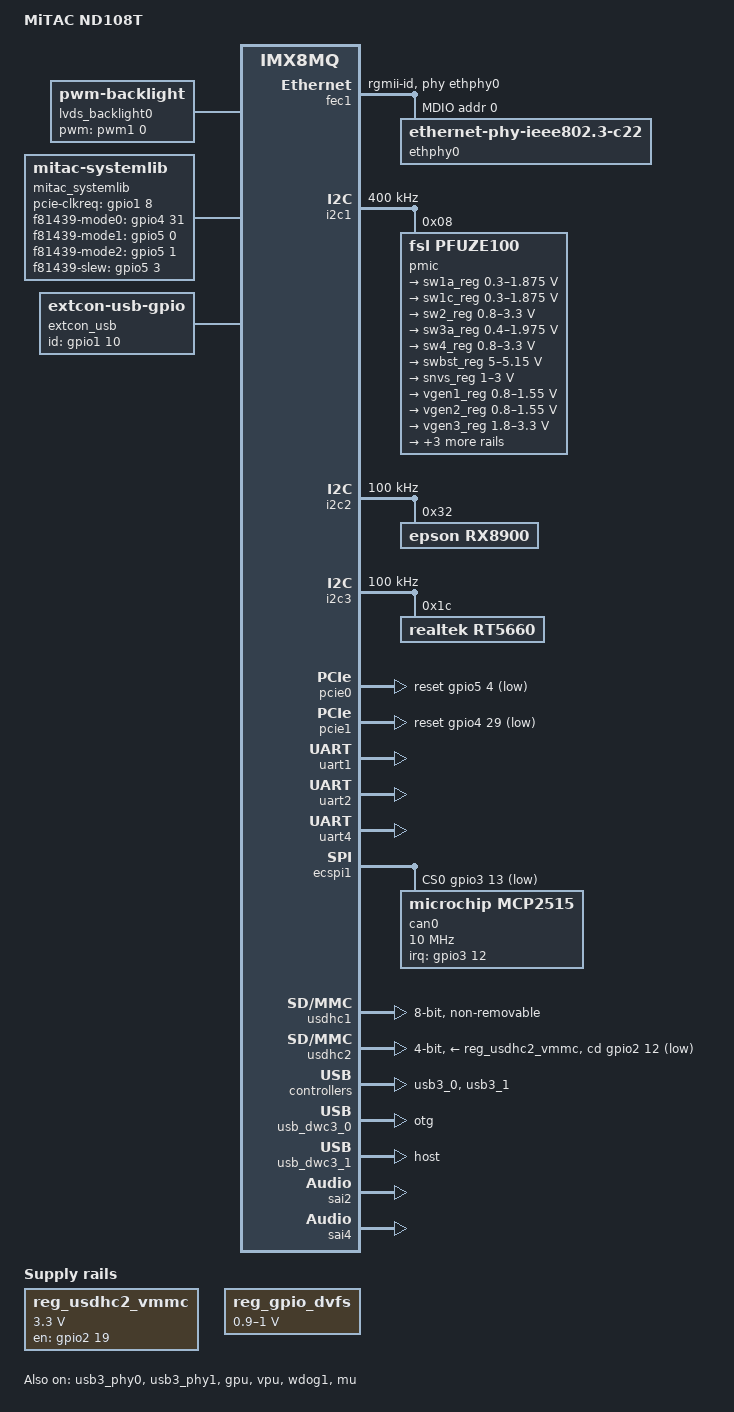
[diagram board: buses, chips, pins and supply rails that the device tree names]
/*
 * Copyright (C) 2016 Freescale Semiconductor, Inc.
 * Copyright 2017 NXP
 *
 * This program is free software; you can redistribute it and/or
 * modify it under the terms of the GNU General Public License
 * as published by the Free Software Foundation; either version 2
 * of the License, or (at your option) any later version.
 *
 * This program is distributed in the hope that it will be useful,
 * but WITHOUT ANY WARRANTY; without even the implied warranty of
 * MERCHANTABILITY or FITNESS FOR A PARTICULAR PURPOSE.  See the
 * GNU General Public License for more details.
 */

/dts-v1/;

#include "fsl-imx8mq.dtsi"

/ {
	model = "MiTAC ND108T";
	compatible = "fsl,imx8mq";

	chosen {
		bootargs = "console=ttymxc0,115200 earlycon=ec_imx6q,0x30860000,115200";
		stdout-path = &uart1;
	};

	regulators {
		compatible = "simple-bus";
		#address-cells = <1>;
		#size-cells = <0>;

		reg_usdhc2_vmmc: usdhc2_vmmc {
			compatible = "regulator-fixed";
			regulator-name = "VSD_3V3";
			regulator-min-microvolt = <3300000>;
			regulator-max-microvolt = <3300000>;
			gpio = <&gpio2 19 GPIO_ACTIVE_HIGH>;
			off-on-delay = <20000>;
			enable-active-high;
		};

		reg_gpio_dvfs: regulator-gpio {
			compatible = "regulator-gpio";
			pinctrl-names = "default";
			pinctrl-0 = <&pinctrl_dvfs>;
			regulator-min-microvolt = <900000>;
			regulator-max-microvolt = <1000000>;
			regulator-name = "gpio_dvfs";
			regulator-type = "voltage";
			gpios = <&gpio1 13 GPIO_ACTIVE_HIGH>;
			states = <900000 0x1 1000000 0x0>;
		};

		lvds_backlight0:lvds_backlight@0 {
			compatible = "pwm-backlight";
			pwms = <&pwm1 0 100000>;
			brightness-levels = < 0  1  2  3  4  5  6  7  8  9
								10 11 12 13 14 15 16 17 18 19
								20 21 22 23 24 25 26 27 28 29
								30 31 32 33 34 35 36 37 38 39
								40 41 42 43 44 45 46 47 48 49
								50 51 52 53 54 55 56 57 58 59
								60 61 62 63 64 65 66 67 68 69
								70 71 72 73 74 75 76 77 78 79
								80 81 82 83 84 85 86 87 88 89
								90 91 92 93 94 95 96 97 98 99
								100>;
			default-brightness-level = <80>;
		};
	};

	sound {
		compatible = "simple-audio-card";
		simple-audio-card,name = "imx-rt5660";
		simple-audio-card,format = "i2s";
		simple-audio-card,widgets =
			"Line Out", "Line Out Jack",
			"Microphone", "Mic Jack";
		simple-audio-card,routing =
			"Line Out Jack", "LOUTL",
			"Line Out Jack", "LOUTR",
			"Mic Jack", "MICBIAS1",
			"IN1P", "Mic Jack",
			"IN1N", "Mic Jack";
		simple-audio-card,cpu {
			sound-dai = <&sai2>;
		};
		simple-audio-card,codec {
			sound-dai = <&rt5660>;
		};
	};

	sound-hdmi {
		compatible = "fsl,imx8mq-evk-cdnhdmi",
				"fsl,imx-audio-cdnhdmi";
		model = "imx-audio-hdmi";
		audio-cpu = <&sai4>;
		protocol = <1>;
		hdmi-out;
		constraint-rate = <44100>,
				<88200>,
				<176400>,
				<32000>,
				<48000>,
				<96000>,
				<192000>;
	};

	mitac_systemlib: mitac-systemlib {
		compatible = "mitac-systemlib";
		pinctrl-names = "default";
		pinctrl-0 = <&pinctrl_systemlib>;
		pcie-clkreq-gpios = <&gpio1 8 GPIO_ACTIVE_HIGH>;
		f81439-mode0 = <&gpio4 31 GPIO_ACTIVE_HIGH>;
		f81439-mode1 = <&gpio5 0 GPIO_ACTIVE_HIGH>;
		f81439-mode2 = <&gpio5 1 GPIO_ACTIVE_HIGH>;
		f81439-slew = <&gpio5 3 GPIO_ACTIVE_HIGH>;
	};

     extcon_usb: extcon-usb {
        compatible = "linux,extcon-usb-gpio";
        pinctrl-names = "default";
        pinctrl-0 = <&pinctrl_usbotgid>;
        id-gpio = <&gpio1 10 GPIO_ACTIVE_HIGH>;
    };
};

&clk {
	assigned-clocks = <&clk IMX8MQ_AUDIO_PLL1>, <&clk IMX8MQ_AUDIO_PLL2>;
	assigned-clock-rates = <786432000>, <722534400>;
};

&iomuxc {
	pinctrl-names = "default";
	pinctrl-0 = <&pinctrl_rpiio>;

	pinctrl_rpiio: rpiio {
		fsl,pins = <
			MX8MQ_IOMUXC_SAI5_MCLK_GPIO3_IO25		0x19	/* K4: RBPi_GPIO4 */
			MX8MQ_IOMUXC_SAI5_RXFS_GPIO3_IO19		0x19	/* N4: RBPi_GPIO13 */
			MX8MQ_IOMUXC_SAI5_RXC_GPIO3_IO20		0x19	/* L5: RBPi_GPIO6 */
			MX8MQ_IOMUXC_SAI5_RXD0_GPIO3_IO21		0x19	/* M5: RBPi_GPIO5 */
			MX8MQ_IOMUXC_SAI5_RXD1_GPIO3_IO22		0x19	/* L4: RBPi_GPIO22 */
			MX8MQ_IOMUXC_SAI5_RXD2_GPIO3_IO23		0x19	/* M4: RBPi_GPIO27 */
			MX8MQ_IOMUXC_SAI5_RXD3_GPIO3_IO24		0x19	/* K5: RBPi_GPIO17 */
			MX8MQ_IOMUXC_SAI3_MCLK_GPIO5_IO2		0x19	/* D3: RBPi_GPIO21 */
			MX8MQ_IOMUXC_NAND_CE1_B_GPIO3_IO2		0x19	/* G21: RBPi_GPIO12 */
			MX8MQ_IOMUXC_NAND_CE2_B_GPIO3_IO3		0x19	/* F21: RBPi_GPIO16 */
			MX8MQ_IOMUXC_NAND_CE3_B_GPIO3_IO4		0x19	/* H20: RBPi_GPIO20 */
			MX8MQ_IOMUXC_NAND_WE_B_GPIO3_IO17		0x19	/* K22: RBPi_GPIO26 */
			MX8MQ_IOMUXC_NAND_WP_B_GPIO3_IO18		0x19	/* K21: RBPi_GPIO19 */
			MX8MQ_IOMUXC_NAND_DQS_GPIO3_IO14		0x19	/* M20: RBPi_GPIO18 */
			MX8MQ_IOMUXC_NAND_DATA04_GPIO3_IO10		0x19	/* L20: RBPi_GPIO23 */
			MX8MQ_IOMUXC_NAND_DATA05_GPIO3_IO11		0x19	/* J22: RBPi_GPIO24 */
			/*MX8MQ_IOMUXC_NAND_DATA06_GPIO3_IO12		0x19	/* L19: RBPi_GPIO25 */
		>;
	};

	pinctrl_fec1: fec1grp {
		fsl,pins = <
			MX8MQ_IOMUXC_ENET_MDC_ENET1_MDC		0x3
			MX8MQ_IOMUXC_ENET_MDIO_ENET1_MDIO	0x23
			MX8MQ_IOMUXC_ENET_TD3_ENET1_RGMII_TD3	0x1f
			MX8MQ_IOMUXC_ENET_TD2_ENET1_RGMII_TD2	0x1f
			MX8MQ_IOMUXC_ENET_TD1_ENET1_RGMII_TD1	0x1f
			MX8MQ_IOMUXC_ENET_TD0_ENET1_RGMII_TD0	0x1f
			MX8MQ_IOMUXC_ENET_RD3_ENET1_RGMII_RD3	0x91
			MX8MQ_IOMUXC_ENET_RD2_ENET1_RGMII_RD2	0x91
			MX8MQ_IOMUXC_ENET_RD1_ENET1_RGMII_RD1	0x91
			MX8MQ_IOMUXC_ENET_RD0_ENET1_RGMII_RD0	0x91
			MX8MQ_IOMUXC_ENET_TXC_ENET1_RGMII_TXC	0x1f
			MX8MQ_IOMUXC_ENET_RXC_ENET1_RGMII_RXC	0x91
			MX8MQ_IOMUXC_ENET_RX_CTL_ENET1_RGMII_RX_CTL	0x91
			MX8MQ_IOMUXC_ENET_TX_CTL_ENET1_RGMII_TX_CTL	0x1f
			MX8MQ_IOMUXC_GPIO1_IO09_GPIO1_IO9	0x19
		>;
	};

	pinctrl_ecspi1: ecspi1grp {
		fsl,pins = <
			MX8MQ_IOMUXC_ECSPI1_SCLK_ECSPI1_SCLK	0x82	/* D5: RBPi_GPIO11/SPI1_SCLK */
			MX8MQ_IOMUXC_ECSPI1_MOSI_ECSPI1_MOSI	0x82	/* A4: RBPi_GPIO10/SPI1_MOSI */
			MX8MQ_IOMUXC_ECSPI1_MISO_ECSPI1_MISO	0x82	/* B4: RBPi_GPIO9/SPI1_MISO */
			MX8MQ_IOMUXC_NAND_CLE_GPIO3_IO5			0x43	/* H21: RBPi_GPIO7/SPI1_CE1 */
			MX8MQ_IOMUXC_NAND_DATA07_GPIO3_IO13		0x19	/* M19: RBPi_GPIO8/SPI1_CE0 */
		>;
	};

	pinctrl_can0: can0grp {
		fsl,pins = <
			MX8MQ_IOMUXC_NAND_DATA06_GPIO3_IO12		0x19	/* L19: RBPi_GPIO25 */
		>;
	};

	pinctrl_i2c1: i2c1grp {
		fsl,pins = <
			MX8MQ_IOMUXC_I2C1_SCL_I2C1_SCL			0x4000007f
			MX8MQ_IOMUXC_I2C1_SDA_I2C1_SDA			0x4000007f
		>;
	};

	pinctrl_i2c2: i2c2grp {
		fsl,pins = <
			MX8MQ_IOMUXC_I2C2_SCL_I2C2_SCL			0x40000067	/* G7: RBPi_GPIO3/I2C2_SCL */
			MX8MQ_IOMUXC_I2C2_SDA_I2C2_SDA			0x40000067	/* F7: RBPi_GPIO2/I2C2_SDA */
		>;
	};

	pinctrl_i2c3: i2c3grp {
		fsl,pins = <
			MX8MQ_IOMUXC_I2C3_SCL_I2C3_SCL			0x40000067
			MX8MQ_IOMUXC_I2C3_SDA_I2C3_SDA			0x40000067
		>;
	};

	pinctrl_i2c4: i2c4grp {
		fsl,pins = <
			MX8MQ_IOMUXC_I2C4_SCL_I2C4_SCL			0x40000067
			MX8MQ_IOMUXC_I2C4_SDA_I2C4_SDA			0x40000067
		>;
	};

	pinctrl_pcie0: pcie0grp {
		fsl,pins = <
			MX8MQ_IOMUXC_UART4_RXD_PCIE1_CLKREQ_B	0x76 /* open drain, pull up */
			MX8MQ_IOMUXC_GPIO1_IO03_GPIO1_IO3	0x16
			MX8MQ_IOMUXC_SPDIF_RX_GPIO5_IO4		0x16
			MX8MQ_IOMUXC_SAI3_RXFS_GPIO4_IO28	0x16 /* Wake-up */
		>;
	};

	pinctrl_pcie1: pcie1grp {
		fsl,pins = <
			MX8MQ_IOMUXC_UART4_TXD_PCIE2_CLKREQ_B	0x76 /* open drain, pull up */
			MX8MQ_IOMUXC_SAI3_RXD_GPIO4_IO30	0x16
			MX8MQ_IOMUXC_SAI3_RXC_GPIO4_IO29	0x16
		>;
	};

	pinctrl_dvfs: dvfsgrp {
		fsl,pins = <
			MX8MQ_IOMUXC_GPIO1_IO13_GPIO1_IO13	0x16
		>;
	};

	pinctrl_qspi: qspigrp {
		fsl,pins = <
			MX8MQ_IOMUXC_NAND_ALE_QSPI_A_SCLK	0x82
			MX8MQ_IOMUXC_NAND_CE0_B_QSPI_A_SS0_B	0x82
			MX8MQ_IOMUXC_NAND_DATA00_QSPI_A_DATA0	0x82
			MX8MQ_IOMUXC_NAND_DATA01_QSPI_A_DATA1	0x82
			MX8MQ_IOMUXC_NAND_DATA02_QSPI_A_DATA2	0x82
			MX8MQ_IOMUXC_NAND_DATA03_QSPI_A_DATA3	0x82

		>;
	};

	pinctrl_uart1: uart1grp {
		fsl,pins = <
			MX8MQ_IOMUXC_UART1_RXD_UART1_DCE_RX		0x49
			MX8MQ_IOMUXC_UART1_TXD_UART1_DCE_TX		0x49
		>;
	};

	pinctrl_uart2: uart2grp {
		fsl,pins = <
			MX8MQ_IOMUXC_UART2_RXD_UART2_DCE_RX		0x49
			MX8MQ_IOMUXC_UART2_TXD_UART2_DCE_TX		0x49
		>;
	};

	pinctrl_uart3: uart3grp {
		fsl,pins = <
			MX8MQ_IOMUXC_UART3_TXD_UART3_DCE_TX		0x49	/* B7: RBPi_GPIO14/UART3_TX */
			MX8MQ_IOMUXC_UART3_RXD_UART3_DCE_RX		0x49	/* A6: RBPi_GPIO15/UART3_RX */
		>;
	};

	pinctrl_uart4: uart4grp {
		fsl,pins = <
			MX8MQ_IOMUXC_ECSPI2_MISO_UART4_DCE_CTS_B	0x49
			MX8MQ_IOMUXC_ECSPI2_SS0_UART4_DCE_RTS_B		0x49
			MX8MQ_IOMUXC_ECSPI2_MOSI_UART4_DCE_TX		0x49
			MX8MQ_IOMUXC_ECSPI2_SCLK_UART4_DCE_RX	0x49
		>;
	};

	pinctrl_usdhc1: usdhc1grp {
		fsl,pins = <
			MX8MQ_IOMUXC_SD1_CLK_USDHC1_CLK			0x83
			MX8MQ_IOMUXC_SD1_CMD_USDHC1_CMD			0xc3
			MX8MQ_IOMUXC_SD1_DATA0_USDHC1_DATA0		0xc3
			MX8MQ_IOMUXC_SD1_DATA1_USDHC1_DATA1		0xc3
			MX8MQ_IOMUXC_SD1_DATA2_USDHC1_DATA2		0xc3
			MX8MQ_IOMUXC_SD1_DATA3_USDHC1_DATA3		0xc3
			MX8MQ_IOMUXC_SD1_DATA4_USDHC1_DATA4		0xc3
			MX8MQ_IOMUXC_SD1_DATA5_USDHC1_DATA5		0xc3
			MX8MQ_IOMUXC_SD1_DATA6_USDHC1_DATA6		0xc3
			MX8MQ_IOMUXC_SD1_DATA7_USDHC1_DATA7		0xc3
			MX8MQ_IOMUXC_SD1_STROBE_USDHC1_STROBE 		0x83
			MX8MQ_IOMUXC_SD1_RESET_B_USDHC1_RESET_B		0xc1
		>;
	};

	pinctrl_usdhc1_100mhz: usdhc1grp100mhz {
		fsl,pins = <
			MX8MQ_IOMUXC_SD1_CLK_USDHC1_CLK			0x8d
			MX8MQ_IOMUXC_SD1_CMD_USDHC1_CMD			0xcd
			MX8MQ_IOMUXC_SD1_DATA0_USDHC1_DATA0		0xcd
			MX8MQ_IOMUXC_SD1_DATA1_USDHC1_DATA1		0xcd
			MX8MQ_IOMUXC_SD1_DATA2_USDHC1_DATA2		0xcd
			MX8MQ_IOMUXC_SD1_DATA3_USDHC1_DATA3		0xcd
			MX8MQ_IOMUXC_SD1_DATA4_USDHC1_DATA4		0xcd
			MX8MQ_IOMUXC_SD1_DATA5_USDHC1_DATA5		0xcd
			MX8MQ_IOMUXC_SD1_DATA6_USDHC1_DATA6		0xcd
			MX8MQ_IOMUXC_SD1_DATA7_USDHC1_DATA7		0xcd
			MX8MQ_IOMUXC_SD1_STROBE_USDHC1_STROBE		0x8d
			MX8MQ_IOMUXC_SD1_RESET_B_USDHC1_RESET_B		0xc1
		>;
	};

	pinctrl_usdhc1_200mhz: usdhc1grp200mhz {
		fsl,pins = <
			MX8MQ_IOMUXC_SD1_CLK_USDHC1_CLK			0x9f
			MX8MQ_IOMUXC_SD1_CMD_USDHC1_CMD			0xdf
			MX8MQ_IOMUXC_SD1_DATA0_USDHC1_DATA0		0xdf
			MX8MQ_IOMUXC_SD1_DATA1_USDHC1_DATA1		0xdf
			MX8MQ_IOMUXC_SD1_DATA2_USDHC1_DATA2		0xdf
			MX8MQ_IOMUXC_SD1_DATA3_USDHC1_DATA3		0xdf
			MX8MQ_IOMUXC_SD1_DATA4_USDHC1_DATA4		0xdf
			MX8MQ_IOMUXC_SD1_DATA5_USDHC1_DATA5		0xdf
			MX8MQ_IOMUXC_SD1_DATA6_USDHC1_DATA6		0xdf
			MX8MQ_IOMUXC_SD1_DATA7_USDHC1_DATA7		0xdf
			MX8MQ_IOMUXC_SD1_STROBE_USDHC1_STROBE		0x9f
			MX8MQ_IOMUXC_SD1_RESET_B_USDHC1_RESET_B		0xc1
		>;
	};

	pinctrl_usdhc2_gpio: usdhc2grpgpio {
		fsl,pins = <
			MX8MQ_IOMUXC_SD2_CD_B_GPIO2_IO12	0x41
			MX8MQ_IOMUXC_SD2_RESET_B_GPIO2_IO19	0x41
		>;
	};

	pinctrl_usdhc2: usdhc2grp {
		fsl,pins = <
			MX8MQ_IOMUXC_SD2_CLK_USDHC2_CLK			0x83
			MX8MQ_IOMUXC_SD2_CMD_USDHC2_CMD			0xc3
			MX8MQ_IOMUXC_SD2_DATA0_USDHC2_DATA0		0xc3
			MX8MQ_IOMUXC_SD2_DATA1_USDHC2_DATA1		0xc3
			MX8MQ_IOMUXC_SD2_DATA2_USDHC2_DATA2		0xc3
			MX8MQ_IOMUXC_SD2_DATA3_USDHC2_DATA3		0xc3
			MX8MQ_IOMUXC_GPIO1_IO04_USDHC2_VSELECT		0xc1
		>;
	};

	pinctrl_usdhc2_100mhz: usdhc2grp100mhz {
		fsl,pins = <
			MX8MQ_IOMUXC_SD2_CLK_USDHC2_CLK			0x8d
			MX8MQ_IOMUXC_SD2_CMD_USDHC2_CMD			0xcd
			MX8MQ_IOMUXC_SD2_DATA0_USDHC2_DATA0		0xcd
			MX8MQ_IOMUXC_SD2_DATA1_USDHC2_DATA1		0xcd
			MX8MQ_IOMUXC_SD2_DATA2_USDHC2_DATA2		0xcd
			MX8MQ_IOMUXC_SD2_DATA3_USDHC2_DATA3		0xcd
			MX8MQ_IOMUXC_GPIO1_IO04_USDHC2_VSELECT		0xc1
		>;
	};

	pinctrl_usdhc2_200mhz: usdhc2grp200mhz {
		fsl,pins = <
			MX8MQ_IOMUXC_SD2_CLK_USDHC2_CLK			0x9f
			MX8MQ_IOMUXC_SD2_CMD_USDHC2_CMD			0xdf
			MX8MQ_IOMUXC_SD2_DATA0_USDHC2_DATA0		0xdf
			MX8MQ_IOMUXC_SD2_DATA1_USDHC2_DATA1		0xdf
			MX8MQ_IOMUXC_SD2_DATA2_USDHC2_DATA2		0xdf
			MX8MQ_IOMUXC_SD2_DATA3_USDHC2_DATA3		0xdf
			MX8MQ_IOMUXC_GPIO1_IO04_USDHC2_VSELECT		0xc1
		>;
	};

	pinctrl_sai2: sai2grp {
		fsl,pins = <
			MX8MQ_IOMUXC_SAI2_TXFS_SAI2_TX_SYNC	0xd6
			MX8MQ_IOMUXC_SAI2_TXC_SAI2_TX_BCLK	0xd6
			MX8MQ_IOMUXC_SAI2_MCLK_SAI2_MCLK	0xd6
			MX8MQ_IOMUXC_SAI2_TXD0_SAI2_TX_DATA0	0xd6
			MX8MQ_IOMUXC_SAI2_RXD0_SAI2_RX_DATA0	0xd6
		>;
	};

	pinctrl_wdog: wdoggrp {
		fsl,pins = <
			MX8MQ_IOMUXC_GPIO1_IO02_WDOG1_WDOG_B 0xc6
		>;
	};

	pinctrl_systemlib: systemlib {
		fsl,pins = <
			MX8MQ_IOMUXC_GPIO1_IO08_GPIO1_IO8	0xd6
			MX8MQ_IOMUXC_SAI3_TXD_GPIO5_IO1		0xd6
			MX8MQ_IOMUXC_SAI3_TXC_GPIO5_IO0		0xd6
			MX8MQ_IOMUXC_SAI3_TXFS_GPIO4_IO31	0xd6
			MX8MQ_IOMUXC_SPDIF_TX_GPIO5_IO3		0xd6
		>;
	};

	pinctrl_lvds: lvds {
		fsl,pins = <
			MX8MQ_IOMUXC_GPIO1_IO14_GPIO1_IO14		0x19	/* DSI_TS_nINT */
			MX8MQ_IOMUXC_GPIO1_IO15_GPIO1_IO15		0x19	/* DSI_LVDS_BL_EN */
			MX8MQ_IOMUXC_GPIO1_IO05_GPIO1_IO5		0x19	/* LVDS_PANEL_EN */
		>;
	};

	pinctrl_lvds_pwm1: lvdspwm1grp {
		fsl,pins = <
			MX8MQ_IOMUXC_GPIO1_IO01_PWM1_OUT   0xd6
		>;
	};

    pinctrl_usbotgid: usbotgid {
        fsl,pins = <
            MX8MQ_IOMUXC_GPIO1_IO10_GPIO1_IO10   0xd6
        >;
    };
};

&fec1 {
	pinctrl-names = "default";
	pinctrl-0 = <&pinctrl_fec1>;
	phy-mode = "rgmii-id";
	phy-handle = <&ethphy0>;
	fsl,magic-packet;
	status = "okay";

	mdio {
		#address-cells = <1>;
		#size-cells = <0>;

		ethphy0: ethernet-phy@0 {
			compatible = "ethernet-phy-ieee802.3-c22";
			reg = <0>;
		};
	};
};

&i2c1 {
	clock-frequency = <400000>;
	pinctrl-names = "default";
	pinctrl-0 = <&pinctrl_i2c1>;
	status = "okay";

	pmic: pfuze100@08 {
		compatible = "fsl,pfuze100";
		reg = <0x08>;

		regulators {
			sw1a_reg: sw1ab {
				regulator-min-microvolt = <300000>;
				regulator-max-microvolt = <1875000>;
			};

			sw1c_reg: sw1c {
				regulator-min-microvolt = <300000>;
				regulator-max-microvolt = <1875000>;
			};

			sw2_reg: sw2 {
				regulator-min-microvolt = <800000>;
				regulator-max-microvolt = <3300000>;
				regulator-always-on;
			};

			sw3a_reg: sw3ab {
				regulator-min-microvolt = <400000>;
				regulator-max-microvolt = <1975000>;
				regulator-always-on;
			};

			sw4_reg: sw4 {
				regulator-min-microvolt = <800000>;
				regulator-max-microvolt = <3300000>;
				regulator-always-on;
			};

			swbst_reg: swbst {
				regulator-min-microvolt = <5000000>;
				regulator-max-microvolt = <5150000>;
			};

			snvs_reg: vsnvs {
				regulator-min-microvolt = <1000000>;
				regulator-max-microvolt = <3000000>;
				regulator-always-on;
			};

			vref_reg: vrefddr {
				regulator-always-on;
			};

			vgen1_reg: vgen1 {
				regulator-min-microvolt = <800000>;
				regulator-max-microvolt = <1550000>;
			};

			vgen2_reg: vgen2 {
				regulator-min-microvolt = <800000>;
				regulator-max-microvolt = <1550000>;
				regulator-always-on;
			};

			vgen3_reg: vgen3 {
				regulator-min-microvolt = <1800000>;
				regulator-max-microvolt = <3300000>;
				regulator-always-on;
			};

			vgen4_reg: vgen4 {
				regulator-min-microvolt = <1800000>;
				regulator-max-microvolt = <3300000>;
				regulator-always-on;
			};

			vgen5_reg: vgen5 {
				regulator-min-microvolt = <1800000>;
				regulator-max-microvolt = <3300000>;
				regulator-always-on;
			};

			vgen6_reg: vgen6 {
				regulator-min-microvolt = <1800000>;
				regulator-max-microvolt = <3300000>;
			};
		};
	};
};

&i2c2 {
	clock-frequency = <100000>;
	pinctrl-names = "default";
	pinctrl-0 = <&pinctrl_i2c2>;
	status = "okay";

    rx8900:rx8900@32{
           compatible = "epson,rx8900";
           reg = <0x32>;
   };
};

&i2c3 {
	clock-frequency = <100000>;
	pinctrl-names = "default";
	pinctrl-0 = <&pinctrl_i2c3>;
	status = "okay";

	rt5660: rt5660@1c {
		compatible = "realtek,rt5660";
		reg = <0x1c>;
		#sound-dai-cells = <0>;
		clocks = <&clk IMX8MQ_CLK_SAI2_ROOT>;
		clock-names = "mclk";
		status = "okay";
	};

	dsi_lvds_bridge: sn65dsi84@2c {
		compatible = "ti,sn65dsi83";
		reg = <0x2c>;
		ti,dsi-lanes = <4>;
		ti,lvds-format = <2>;
		ti,lvds-bpp = <24>;
		ti,width-mm = <162>;
		ti,height-mm = <121>;
		ti,lvds-channels = <1>;
		pinctrl-names = "default";
		pinctrl-0 = <&pinctrl_lvds>;
		enable-panel-gpios = <&gpio1 5 GPIO_ACTIVE_HIGH>;
		enable-backlight-gpios = <&gpio1 15 GPIO_ACTIVE_HIGH>;
		status = "disabled";
        backlight = <&lvds_backlight0>;

		display-timings {
			lvds {
				clock-frequency = <60000000>;
				hactive = <1024>;
				vactive = <768>;
				hback-porch = <160>;
				hfront-porch = <160>;
				vback-porch = <23>;
				vfront-porch = <15>;
				hsync-len = <1>;
				vsync-len = <1>;
				hsync-active = <0>;
				vsync-active = <0>;
				de-active = <1>;
				pixelclk-active = <0>;
			};
		};
	};
};

&i2c4 {
	clock-frequency = <100000>;
	pinctrl-names = "default";
	pinctrl-0 = <&pinctrl_i2c4>;
	status = "disabled";
};

&pcie0{
	pinctrl-names = "default";
	pinctrl-0 = <&pinctrl_pcie0>;
	disable-gpio = <&gpio1 3 GPIO_ACTIVE_LOW>;
	reset-gpio = <&gpio5 4 GPIO_ACTIVE_LOW>;
	ext_osc = <1>;
	hard-wired = <1>;
	status = "okay";
};

&pcie1{
	pinctrl-names = "default";
	pinctrl-0 = <&pinctrl_pcie1>;
	disable-gpio = <&gpio4 30 GPIO_ACTIVE_LOW>;
	reset-gpio = <&gpio4 29 GPIO_ACTIVE_LOW>;
	ext_osc = <1>;
	status = "okay";
};

&uart1 { /* console */
	pinctrl-names = "default";
	pinctrl-0 = <&pinctrl_uart1>;
	assigned-clocks = <&clk IMX8MQ_CLK_UART1>;
	assigned-clock-parents = <&clk IMX8MQ_CLK_25M>;
	status = "okay";
};

&uart2 {
	pinctrl-names = "default";
	pinctrl-0 = <&pinctrl_uart2>;
	assigned-clocks = <&clk IMX8MQ_CLK_UART2>;
	assigned-clock-parents = <&clk IMX8MQ_CLK_25M>;
	status = "okay";
};

&uart3 {
	pinctrl-names = "default";
	pinctrl-0 = <&pinctrl_uart3>;
	assigned-clocks = <&clk IMX8MQ_CLK_UART3>;
	assigned-clock-parents = <&clk IMX8MQ_SYS1_PLL_80M>;
	status = "disabled";
};

&uart4 {
	pinctrl-names = "default";
	pinctrl-0 = <&pinctrl_uart4>;
	assigned-clocks = <&clk IMX8MQ_CLK_UART4>;
	assigned-clock-parents = <&clk IMX8MQ_CLK_25M>;
	fsl,uart-has-rtscts;
	fsl,rs485-enabled-at-boot-time;
	status = "okay";
};

&ecspi1 {
	#address-cells = <1>;
	#size-cells = <0>;
	pinctrl-names = "default";
	pinctrl-0 = <&pinctrl_ecspi1>;
	fsl,spi-num-chipselects = <2>;
	cs-gpios = <&gpio3 13 GPIO_ACTIVE_LOW>, <&gpio3 5 GPIO_ACTIVE_LOW>;
	status = "okay";

	can0: mcp2515@0 {
		compatible = "microchip,mcp2515";
		pinctrl-names = "default";
		pinctrl-0 = <&pinctrl_can0>;
		reg = <0>;
		clocks = <&mcp251x_clock>;
		interrupt-parent = <&gpio3>;
		interrupts = <12 IRQ_TYPE_EDGE_FALLING>;
		spi-max-frequency = <10000000>;
		status = "okay";
	};

	spidev@0 {
		#address-cells = <1>;
		#size-cells = <1>;
		compatible = "spidev";
		spi-max-frequency = <12000000>;
		reg = <0>;
		status = "disabled";
	};

	spidev@1 {
		#address-cells = <1>;
		#size-cells = <1>;
		compatible = "spidev";
		spi-max-frequency = <12000000>;
		reg = <1>;
		status = "disabled";
	};
};

&pwm1 {
	pinctrl-names = "default";
	pinctrl-0 = <&pinctrl_lvds_pwm1>;
	status = "disabled";
};

&qspi {
	pinctrl-names = "default";
	pinctrl-0 = <&pinctrl_qspi>;
	status = "disabled";

	flash0: n25q256a@0 {
		reg = <0>;
		#address-cells = <1>;
		#size-cells = <1>;
		compatible = "micron,n25q256a";
		spi-max-frequency = <29000000>;
		spi-nor,ddr-quad-read-dummy = <6>;
	};
};

&usdhc1 {
	pinctrl-names = "default", "state_100mhz", "state_200mhz";
	pinctrl-0 = <&pinctrl_usdhc1>;
	pinctrl-1 = <&pinctrl_usdhc1_100mhz>;
	pinctrl-2 = <&pinctrl_usdhc1_200mhz>;
    max-frequency = <100000000>;
	bus-width = <8>;
	non-removable;
	status = "okay";
};

&usdhc2 {
	pinctrl-names = "default", "state_100mhz", "state_200mhz";
	pinctrl-0 = <&pinctrl_usdhc2>, <&pinctrl_usdhc2_gpio>;
	pinctrl-1 = <&pinctrl_usdhc2_100mhz>, <&pinctrl_usdhc2_gpio>;
	pinctrl-2 = <&pinctrl_usdhc2_200mhz>, <&pinctrl_usdhc2_gpio>;
	bus-width = <4>;
	cd-gpios = <&gpio2 12 GPIO_ACTIVE_LOW>;
	vmmc-supply = <&reg_usdhc2_vmmc>;
	status = "okay";
};

&usb3_phy0 {
	status = "okay";
};

&usb3_0 {
	status = "okay";
};

&usb_dwc3_0 {
	status = "okay";
	dr_mode = "otg";
    extcon = <&extcon_usb>;
	/*hnp-disable;
	srp-disable;
	adp-disable;*/
    maximum-speed = "high-speed";
};

&usb3_phy1 {
	status = "okay";
};

&usb3_1 {
	status = "okay";
};

&usb_dwc3_1 {
	status = "okay";
	dr_mode = "host";
};

&sai2 {
	#sound-dai-cells = <0>;
	pinctrl-names = "default";
	pinctrl-0 = <&pinctrl_sai2>;
	assigned-clocks = <&clk IMX8MQ_CLK_SAI2>;
	assigned-clock-parents = <&clk IMX8MQ_AUDIO_PLL1_OUT>;
	assigned-clock-rates = <24576000>;
	status = "okay";
};

&sai4 {
	assigned-clocks = <&clk IMX8MQ_CLK_SAI4>;
	assigned-clock-parents = <&clk IMX8MQ_AUDIO_PLL1_OUT>;
	assigned-clock-rates = <24576000>;
	clocks = <&clk IMX8MQ_CLK_SAI4_IPG>, <&clk IMX8MQ_CLK_DUMMY>,
		<&clk IMX8MQ_CLK_SAI4_ROOT>, <&clk IMX8MQ_CLK_DUMMY>,
		<&clk IMX8MQ_CLK_DUMMY>, <&clk IMX8MQ_AUDIO_PLL1_OUT>,
		<&clk IMX8MQ_AUDIO_PLL2_OUT>;
	clock-names = "bus", "mclk0", "mclk1", "mclk2", "mclk3", "pll8k", "pll11k";
	status = "okay";
};

&gpu_pd {
	power-supply = <&sw1a_reg>;
};

&vpu_pd {
	power-supply = <&sw1c_reg>;
};

&gpu {
	status = "okay";
};

&vpu {
	status = "okay";
};

&wdog1 {
	pinctrl-names = "default";
	pinctrl-0 = <&pinctrl_wdog>;
	fsl,ext-reset-output;
	status = "okay";
};

&mu {
	status = "okay";
};

&A53_0 {
	operating-points = <
		/* kHz    uV */
		1500000 1000000
		1300000 1000000
		1000000 900000
		800000  900000
	>;
	dc-supply = <&reg_gpio_dvfs>;
};
